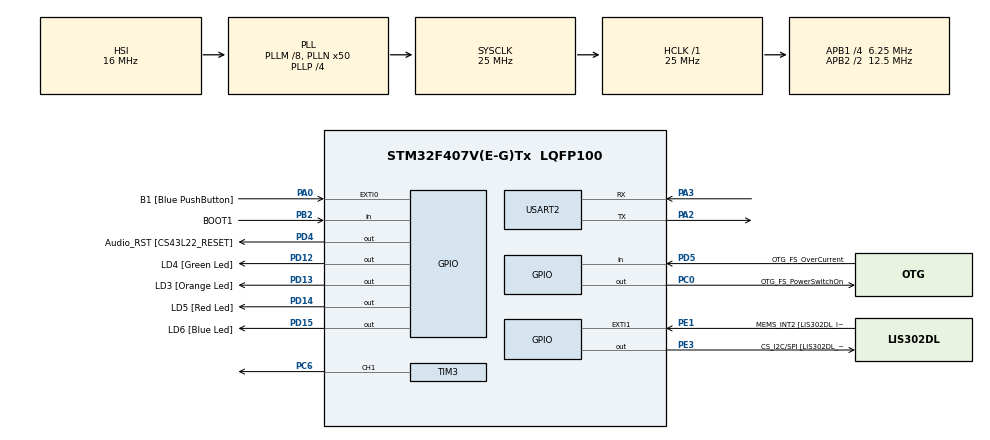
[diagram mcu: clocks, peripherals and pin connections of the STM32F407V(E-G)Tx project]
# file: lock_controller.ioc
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Dma.Request0=USART2_RX
Dma.Request1=USART2_TX
Dma.USART2_RX.0.Direction=DMA_PERIPH_TO_MEMORY
Dma.USART2_RX.0.FIFOMode=DMA_FIFOMODE_DISABLE
Dma.USART2_RX.0.Instance=DMA1_Stream5
Dma.USART2_RX.0.MemDataAlignment=DMA_MDATAALIGN_BYTE
Dma.USART2_RX.0.MemInc=DMA_MINC_ENABLE
Dma.USART2_RX.0.Mode=DMA_NORMAL
Dma.USART2_RX.0.PeriphDataAlignment=DMA_PDATAALIGN_BYTE
Dma.USART2_RX.0.PeriphInc=DMA_PINC_DISABLE
Dma.USART2_RX.0.Priority=DMA_PRIORITY_LOW
Dma.USART2_TX.1.Direction=DMA_MEMORY_TO_PERIPH
Dma.USART2_TX.1.FIFOMode=DMA_FIFOMODE_DISABLE
Dma.USART2_TX.1.Instance=DMA1_Stream6
Dma.USART2_TX.1.MemDataAlignment=DMA_MDATAALIGN_BYTE
Dma.USART2_TX.1.MemInc=DMA_MINC_ENABLE
Dma.USART2_TX.1.Mode=DMA_NORMAL
Dma.USART2_TX.1.PeriphDataAlignment=DMA_PDATAALIGN_BYTE
Dma.USART2_TX.1.PeriphInc=DMA_PINC_DISABLE
Dma.USART2_TX.1.Priority=DMA_PRIORITY_LOW
FREERTOS.Tasks01=initTask,32,128,StartInitTask,Default,NULL,Dynamic,NULL,NULL;uartRxThread,24,128,uart_rx_thread,Default,NULL,Dynamic,NULL,NULL;servoCheckThrea,24,128,servo_check_thread,Default,NULL,Dynamic,NULL,NULL
Mcu.Family=STM32F4
Mcu.Name=STM32F407V(E-G)Tx
Mcu.Package=LQFP100
NVIC.DMA1_Stream5_IRQn=true\:5\:0\:false\:false\:true\:true\:false\:true
NVIC.DMA1_Stream6_IRQn=true\:5\:0\:false\:false\:true\:true\:false\:true
NVIC.PriorityGroup=NVIC_PRIORITYGROUP_4
NVIC.TIM6_DAC_IRQn=true\:0\:0\:false\:false\:true\:false\:false\:true
NVIC.TimeBase=TIM6_DAC_IRQn
NVIC.TimeBaseIP=TIM6
NVIC.USART2_IRQn=true\:5\:0\:false\:false\:true\:true\:true\:true
PA0-WKUP.GPIO_Label=B1 [Blue PushButton]
PA0-WKUP.Signal=GPXTI0
PA10.GPIO_Label=OTG_FS_ID
PA10.GPIO_Mode=GPIO_MODE_AF_PP
PA10.GPIO_PuPd=GPIO_NOPULL
PA10.GPIO_Speed=GPIO_SPEED_FREQ_LOW
PA10.Signal=USB_OTG_FS_ID
PA11.GPIO_Label=OTG_FS_DM
PA11.GPIO_Mode=GPIO_MODE_AF_PP
PA11.GPIO_PuPd=GPIO_NOPULL
PA11.GPIO_Speed=GPIO_SPEED_FREQ_LOW
PA11.Signal=USB_OTG_FS_DM
PA12.GPIO_Label=OTG_FS_DP
PA12.GPIO_Mode=GPIO_MODE_AF_PP
PA12.GPIO_PuPd=GPIO_NOPULL
PA12.GPIO_Speed=GPIO_SPEED_FREQ_LOW
PA12.Signal=USB_OTG_FS_DP
PA13.GPIO_Label=SWDIO
PA13.Signal=SYS_JTMS-SWDIO
PA14.GPIO_Label=SWCLK
PA14.Signal=SYS_JTCK-SWCLK
PA2.Mode=Asynchronous
PA2.Signal=USART2_TX
PA3.Mode=Asynchronous
PA3.Signal=USART2_RX
PA4.GPIO_Label=I2S3_WS [CS43L22_LRCK]
PA4.GPIO_Mode=GPIO_MODE_AF_PP
PA4.GPIO_PuPd=GPIO_NOPULL
PA4.GPIO_Speed=GPIO_SPEED_FREQ_LOW
PA4.Signal=I2S3_WS
PA5.GPIO_Label=SPI1_SCK [LIS302DL_SCL/SPC]
PA5.GPIO_Mode=GPIO_MODE_AF_PP
PA5.GPIO_PuPd=GPIO_NOPULL
PA5.GPIO_Speed=GPIO_SPEED_FREQ_LOW
PA5.Signal=SPI1_SCK
PA6.GPIO_Label=SPI1_MISO [LIS302DL_SDO]
PA6.GPIO_Mode=GPIO_MODE_AF_PP
PA6.GPIO_PuPd=GPIO_NOPULL
PA6.GPIO_Speed=GPIO_SPEED_FREQ_LOW
PA6.Signal=SPI1_MISO
PA7.GPIO_Label=SPI1_MOSI [LIS302DL_SDA/SDI/SDO]
PA7.GPIO_Mode=GPIO_MODE_AF_PP
PA7.GPIO_PuPd=GPIO_NOPULL
PA7.GPIO_Speed=GPIO_SPEED_FREQ_LOW
PA7.Signal=SPI1_MOSI
PA9.GPIO_Label=VBUS_FS
PA9.GPIO_Mode=GPIO_MODE_INPUT
PA9.GPIO_PuPd=GPIO_NOPULL
PA9.Signal=USB_OTG_FS_VBUS
PB10.GPIO_Label=CLK_IN [MP45DT02_CLK]
PB10.GPIO_Mode=GPIO_MODE_AF_PP
PB10.GPIO_PuPd=GPIO_NOPULL
PB10.GPIO_Speed=GPIO_SPEED_FREQ_LOW
PB10.Signal=I2S2_CK
PB2.GPIO_Label=BOOT1
PB2.GPIO_Mode=GPIO_MODE_INPUT
PB2.GPIO_PuPd=GPIO_NOPULL
PB2.Signal=GPIO_Input
PB3.GPIO_Label=SWO
PB3.Signal=SYS_JTDO-SWO
PB6.GPIO_Label=Audio_SCL [CS43L22_SCL]
PB6.GPIO_Mode=GPIO_MODE_AF_OD
PB6.GPIO_PuPd=GPIO_NOPULL
PB6.GPIO_Speed=GPIO_SPEED_FREQ_LOW
PB6.Signal=I2C1_SCL
PB9.GPIO_Label=Audio_SDA [CS43L22_SDA]
PB9.GPIO_Mode=GPIO_MODE_AF_OD
PB9.GPIO_PuPd=GPIO_NOPULL
PB9.GPIO_Speed=GPIO_SPEED_FREQ_LOW
PB9.Signal=I2C1_SDA
PC0.GPIO_Label=OTG_FS_PowerSwitchOn
PC0.GPIO_PuPd=GPIO_NOPULL
PC0.GPIO_Speed=GPIO_SPEED_FREQ_LOW
PC0.PinState=GPIO_PIN_SET
PC0.Signal=GPIO_Output
PC10.GPIO_Label=I2S3_SCK [CS43L22_SCLK]
PC10.GPIO_Mode=GPIO_MODE_AF_PP
PC10.GPIO_PuPd=GPIO_NOPULL
PC10.GPIO_Speed=GPIO_SPEED_FREQ_LOW
PC10.Signal=I2S3_CK
PC12.GPIO_Label=I2S3_SD [CS43L22_SDIN]
PC12.GPIO_Mode=GPIO_MODE_AF_PP
PC12.GPIO_PuPd=GPIO_NOPULL
PC12.GPIO_Speed=GPIO_SPEED_FREQ_LOW
PC12.Signal=I2S3_SD
PC14-OSC32_IN.GPIO_Label=PC14-OSC32_IN
PC14-OSC32_IN.Mode=LSE-External-Oscillator
PC14-OSC32_IN.Signal=RCC_OSC32_IN
PC15-OSC32_OUT.GPIO_Label=PC15-OSC32_OUT
PC15-OSC32_OUT.Mode=LSE-External-Oscillator
PC15-OSC32_OUT.Signal=RCC_OSC32_OUT
PC3.GPIO_Label=PDM_OUT [MP45DT02_DOUT]
PC3.GPIO_Mode=GPIO_MODE_AF_PP
PC3.GPIO_PuPd=GPIO_NOPULL
PC3.GPIO_Speed=GPIO_SPEED_FREQ_LOW
PC3.Signal=I2S2_SD
PC6.Signal=S_TIM3_CH1
PC7.GPIO_Label=I2S3_MCK [CS43L22_MCLK]
PC7.GPIO_Mode=GPIO_MODE_AF_PP
PC7.GPIO_PuPd=GPIO_NOPULL
PC7.GPIO_Speed=GPIO_SPEED_FREQ_LOW
PC7.Signal=I2S3_MCK
PD12.GPIO_Label=LD4 [Green Led]
PD12.GPIO_PuPd=GPIO_NOPULL
PD12.GPIO_Speed=GPIO_SPEED_FREQ_LOW
PD12.Signal=GPIO_Output
PD13.GPIO_Label=LD3 [Orange Led]
PD13.GPIO_PuPd=GPIO_NOPULL
PD13.GPIO_Speed=GPIO_SPEED_FREQ_LOW
PD13.Signal=GPIO_Output
PD14.GPIO_Label=LD5 [Red Led]
PD14.GPIO_PuPd=GPIO_NOPULL
PD14.GPIO_Speed=GPIO_SPEED_FREQ_LOW
PD14.Signal=GPIO_Output
PD15.GPIO_Label=LD6 [Blue Led]
PD15.GPIO_PuPd=GPIO_NOPULL
PD15.GPIO_Speed=GPIO_SPEED_FREQ_LOW
PD15.Signal=GPIO_Output
PD4.GPIO_Label=Audio_RST [CS43L22_RESET]
PD4.GPIO_PuPd=GPIO_NOPULL
PD4.GPIO_Speed=GPIO_SPEED_FREQ_LOW
PD4.Signal=GPIO_Output
PD5.GPIO_Label=OTG_FS_OverCurrent
PD5.GPIO_Mode=GPIO_MODE_INPUT
PD5.GPIO_PuPd=GPIO_NOPULL
PD5.Signal=GPIO_Input
PE1.GPIO_Label=MEMS_INT2 [LIS302DL_INT2]
PE1.GPIO_ModeDefaultEXTI=GPIO_MODE_EVT_RISING
PE1.GPIO_PuPd=GPIO_NOPULL
PE1.Signal=GPXTI1
PE3.GPIO_Label=CS_I2C/SPI [LIS302DL_CS_I2C/SPI]
PE3.GPIO_PuPd=GPIO_NOPULL
PE3.GPIO_Speed=GPIO_SPEED_FREQ_LOW
PE3.Signal=GPIO_Output
PH0-OSC_IN.GPIO_Label=PH0-OSC_IN
PH0-OSC_IN.Mode=HSE-External-Oscillator
PH0-OSC_IN.Signal=RCC_OSC_IN
PH1-OSC_OUT.GPIO_Label=PH1-OSC_OUT
PH1-OSC_OUT.Mode=HSE-External-Oscillator
PH1-OSC_OUT.Signal=RCC_OSC_OUT
ProjectManager.HeapSize=0x200
ProjectManager.StackSize=0x400
ProjectManager.TargetToolchain=SW4STM32
RCC.48MHZClocksFreq_Value=14285714.285714285
RCC.AHBFreq_Value=25000000
RCC.APB1CLKDivider=RCC_HCLK_DIV4
RCC.APB1Freq_Value=6250000
RCC.APB1TimFreq_Value=12500000
RCC.APB2CLKDivider=RCC_HCLK_DIV2
RCC.APB2Freq_Value=12500000
RCC.APB2TimFreq_Value=25000000
RCC.CortexFreq_Value=25000000
RCC.HCLKFreq_Value=25000000
RCC.HSE_VALUE=8000000
RCC.HSI_VALUE=16000000
RCC.PLLM=8
RCC.PLLN=50
RCC.PLLP=RCC_PLLP_DIV4
RCC.PLLQ=7
RCC.SYSCLKFreq_VALUE=25000000
RCC.SYSCLKSource=RCC_SYSCLKSOURCE_PLLCLK
RCC.VCOOutputFreq_Value=100000000
SH.S_TIM3_CH1.0=TIM3_CH1,PWM Generation1 CH1
TIM3.Channel-PWM\ Generation1\ CH1=TIM_CHANNEL_1
TIM3.Period=2000
TIM3.Prescaler=160
TIM3.Pulse-PWM\ Generation1\ CH1=50
USART2.VirtualMode=VM_ASYNC
VP_FREERTOS_VS_CMSIS_V2.Mode=CMSIS_V2
VP_SYS_VS_tim6.Mode=TIM6
VP_TIM3_VS_ClockSourceINT.Mode=Internal
board=STM32F407G-DISC1

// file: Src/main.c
/* USER CODE BEGIN Header */
/**
  ******************************************************************************
  * @file           : main.c
  * @brief          : Main program body
  ******************************************************************************
  * @attention
  *
  * <h2><center>&copy; Copyright (c) 2020 STMicroelectronics.
  * All rights reserved.</center></h2>
  *
  * This software component is licensed by ST under BSD 3-Clause license,
  * the "License"; You may not use this file except in compliance with the
  * License. You may obtain a copy of the License at:
  *                        opensource.org/licenses/BSD-3-Clause
  *
  ******************************************************************************
  */
/* USER CODE END Header */

#include "main.h"
#include "cmsis_os.h"

/* USER CODE BEGIN Includes */

#include <string.h>
#include <stdbool.h>
#include <stdio.h>

/* USER CODE END Includes */

TIM_HandleTypeDef htim3;

UART_HandleTypeDef huart2;
DMA_HandleTypeDef hdma_usart2_rx;
DMA_HandleTypeDef hdma_usart2_tx;

/* Definitions for initTask */
osThreadId_t initTaskHandle;
const osThreadAttr_t initTask_attributes = {
  .name = "initTask",
  .priority = (osPriority_t) osPriorityAboveNormal,
  .stack_size = 128 * 4
};
/* Definitions for uartRxThread */
osThreadId_t uartRxThreadHandle;
const osThreadAttr_t uartRxThread_attributes = {
  .name = "uartRxThread",
  .priority = (osPriority_t) osPriorityNormal,
  .stack_size = 128 * 4
};
/* Definitions for servoCheckThrea */
osThreadId_t servoCheckThreadHandle;
const osThreadAttr_t servoCheckThread_attributes = {
  .name = "servoCheckThrea",
  .priority = (osPriority_t) osPriorityNormal,
  .stack_size = 128 * 4
};

void SystemClock_Config(void);
static void MX_GPIO_Init(void);
static void MX_DMA_Init(void);
static void MX_USART2_UART_Init(void);
static void MX_TIM3_Init(void);
void StartInitTask(void *argument);
void uart_rx_thread(void *argument);
void servo_check_thread(void *argument);

/* USER CODE BEGIN PFP */

void filter_message(char *cmd);
void server_receive();
void server_transmit(char *cmd);

/* USER CODE END PFP */

/* USER CODE BEGIN 0 */

char tx_data[64];

char rx_data[256];

char filter[100];

char *token = "OK";
char *hello = "Hello";
char *lock = "Zakljucano";
char *unlock = "Otkljucano";

bool connected = 0;
bool position = 0;
bool online = 0;
bool recv = 1;

GPIO_PinState manualLockToggle;

/* USER CODE END 0 */

int main(void)
{

  /* MCU Configuration--------------------------------------------------------*/

  /* Reset of all peripherals, Initializes the Flash interface and the Systick. */
  HAL_Init();

  /* Configure the system clock */
  SystemClock_Config();

  /* Initialize all configured peripherals */
  MX_GPIO_Init();
  MX_DMA_Init();
  MX_USART2_UART_Init();
  MX_TIM3_Init();

  /* Init scheduler */
  osKernelInitialize();

  /* Create the thread(s) */
  /* creation of initTask */
  initTaskHandle = osThreadNew(StartInitTask, NULL, &initTask_attributes);

  /* creation of uartRxThread */
  uartRxThreadHandle = osThreadNew(uart_rx_thread, NULL, &uartRxThread_attributes);

  /* creation of servoCheckThrea */
  servoCheckThreadHandle = osThreadNew(servo_check_thread, NULL, &servoCheckThread_attributes);

  /* Start scheduler */
  osKernelStart();

  /* We should never get here as control is now taken by the scheduler */
  /* Infinite loop */
  while (1)
  {

  }
}

void SystemClock_Config(void)
{
  RCC_OscInitTypeDef RCC_OscInitStruct = {0};
  RCC_ClkInitTypeDef RCC_ClkInitStruct = {0};

  /** Configure the main internal regulator output voltage
  */
  __HAL_RCC_PWR_CLK_ENABLE();
  __HAL_PWR_VOLTAGESCALING_CONFIG(PWR_REGULATOR_VOLTAGE_SCALE1);
  /** Initializes the CPU, AHB and APB busses clocks
  */
  RCC_OscInitStruct.OscillatorType = RCC_OSCILLATORTYPE_HSI;
  RCC_OscInitStruct.HSIState = RCC_HSI_ON;
  RCC_OscInitStruct.HSICalibrationValue = RCC_HSICALIBRATION_DEFAULT;
  RCC_OscInitStruct.PLL.PLLState = RCC_PLL_ON;
  RCC_OscInitStruct.PLL.PLLSource = RCC_PLLSOURCE_HSI;
  RCC_OscInitStruct.PLL.PLLM = 8;
  RCC_OscInitStruct.PLL.PLLN = 50;
  RCC_OscInitStruct.PLL.PLLP = RCC_PLLP_DIV4;
  RCC_OscInitStruct.PLL.PLLQ = 7;
  if (HAL_RCC_OscConfig(&RCC_OscInitStruct) != HAL_OK)
  {
    Error_Handler();
  }
  /** Initializes the CPU, AHB and APB busses clocks
  */
  RCC_ClkInitStruct.ClockType = RCC_CLOCKTYPE_HCLK|RCC_CLOCKTYPE_SYSCLK
                              |RCC_CLOCKTYPE_PCLK1|RCC_CLOCKTYPE_PCLK2;
  RCC_ClkInitStruct.SYSCLKSource = RCC_SYSCLKSOURCE_PLLCLK;
  RCC_ClkInitStruct.AHBCLKDivider = RCC_SYSCLK_DIV1;
  RCC_ClkInitStruct.APB1CLKDivider = RCC_HCLK_DIV4;
  RCC_ClkInitStruct.APB2CLKDivider = RCC_HCLK_DIV2;

  if (HAL_RCC_ClockConfig(&RCC_ClkInitStruct, FLASH_LATENCY_0) != HAL_OK)
  {
    Error_Handler();
  }
}

static void MX_TIM3_Init(void)
{

  TIM_ClockConfigTypeDef sClockSourceConfig = {0};
  TIM_MasterConfigTypeDef sMasterConfig = {0};
  TIM_OC_InitTypeDef sConfigOC = {0};

  htim3.Instance = TIM3;
  htim3.Init.Prescaler = 160;
  htim3.Init.CounterMode = TIM_COUNTERMODE_UP;
  htim3.Init.Period = 2000;
  htim3.Init.ClockDivision = TIM_CLOCKDIVISION_DIV1;
  htim3.Init.AutoReloadPreload = TIM_AUTORELOAD_PRELOAD_DISABLE;
  if (HAL_TIM_Base_Init(&htim3) != HAL_OK)
  {
    Error_Handler();
  }
  sClockSourceConfig.ClockSource = TIM_CLOCKSOURCE_INTERNAL;
  if (HAL_TIM_ConfigClockSource(&htim3, &sClockSourceConfig) != HAL_OK)
  {
    Error_Handler();
  }
  if (HAL_TIM_PWM_Init(&htim3) != HAL_OK)
  {
    Error_Handler();
  }
  sMasterConfig.MasterOutputTrigger = TIM_TRGO_RESET;
  sMasterConfig.MasterSlaveMode = TIM_MASTERSLAVEMODE_DISABLE;
  if (HAL_TIMEx_MasterConfigSynchronization(&htim3, &sMasterConfig) != HAL_OK)
  {
    Error_Handler();
  }
  sConfigOC.OCMode = TIM_OCMODE_PWM1;
  sConfigOC.Pulse = 50;
  sConfigOC.OCPolarity = TIM_OCPOLARITY_HIGH;
  sConfigOC.OCFastMode = TIM_OCFAST_DISABLE;
  if (HAL_TIM_PWM_ConfigChannel(&htim3, &sConfigOC, TIM_CHANNEL_1) != HAL_OK)
  {
    Error_Handler();
  }
  HAL_TIM_MspPostInit(&htim3);

}

static void MX_USART2_UART_Init(void)
{

  huart2.Instance = USART2;
  huart2.Init.BaudRate = 115200;
  huart2.Init.WordLength = UART_WORDLENGTH_8B;
  huart2.Init.StopBits = UART_STOPBITS_1;
  huart2.Init.Parity = UART_PARITY_NONE;
  huart2.Init.Mode = UART_MODE_TX_RX;
  huart2.Init.HwFlowCtl = UART_HWCONTROL_NONE;
  huart2.Init.OverSampling = UART_OVERSAMPLING_16;
  if (HAL_UART_Init(&huart2) != HAL_OK)
  {
    Error_Handler();
  }

}

static void MX_DMA_Init(void)
{

  /* DMA controller clock enable */
  __HAL_RCC_DMA1_CLK_ENABLE();

  /* DMA interrupt init */
  /* DMA1_Stream5_IRQn interrupt configuration */
  HAL_NVIC_SetPriority(DMA1_Stream5_IRQn, 5, 0);
  HAL_NVIC_EnableIRQ(DMA1_Stream5_IRQn);
  /* DMA1_Stream6_IRQn interrupt configuration */
  HAL_NVIC_SetPriority(DMA1_Stream6_IRQn, 5, 0);
  HAL_NVIC_EnableIRQ(DMA1_Stream6_IRQn);

}

static void MX_GPIO_Init(void)
{
  GPIO_InitTypeDef GPIO_InitStruct = {0};

  /* GPIO Ports Clock Enable */
  __HAL_RCC_GPIOE_CLK_ENABLE();
  __HAL_RCC_GPIOC_CLK_ENABLE();
  __HAL_RCC_GPIOH_CLK_ENABLE();
  __HAL_RCC_GPIOA_CLK_ENABLE();
  __HAL_RCC_GPIOB_CLK_ENABLE();
  __HAL_RCC_GPIOD_CLK_ENABLE();

  /*Configure GPIO pin Output Level */
  HAL_GPIO_WritePin(CS_I2C_SPI_GPIO_Port, CS_I2C_SPI_Pin, GPIO_PIN_RESET);

  /*Configure GPIO pin Output Level */
  HAL_GPIO_WritePin(OTG_FS_PowerSwitchOn_GPIO_Port, OTG_FS_PowerSwitchOn_Pin, GPIO_PIN_SET);

  /*Configure GPIO pin Output Level */
  HAL_GPIO_WritePin(GPIOD, LD4_Pin|LD3_Pin|LD5_Pin|LD6_Pin
                          |Audio_RST_Pin, GPIO_PIN_RESET);

  /*Configure GPIO pin : CS_I2C_SPI_Pin */
  GPIO_InitStruct.Pin = CS_I2C_SPI_Pin;
  GPIO_InitStruct.Mode = GPIO_MODE_OUTPUT_PP;
  GPIO_InitStruct.Pull = GPIO_NOPULL;
  GPIO_InitStruct.Speed = GPIO_SPEED_FREQ_LOW;
  HAL_GPIO_Init(CS_I2C_SPI_GPIO_Port, &GPIO_InitStruct);

  /*Configure GPIO pin : OTG_FS_PowerSwitchOn_Pin */
  GPIO_InitStruct.Pin = OTG_FS_PowerSwitchOn_Pin;
  GPIO_InitStruct.Mode = GPIO_MODE_OUTPUT_PP;
  GPIO_InitStruct.Pull = GPIO_NOPULL;
  GPIO_InitStruct.Speed = GPIO_SPEED_FREQ_LOW;
  HAL_GPIO_Init(OTG_FS_PowerSwitchOn_GPIO_Port, &GPIO_InitStruct);

  /*Configure GPIO pin : PDM_OUT_Pin */
  GPIO_InitStruct.Pin = PDM_OUT_Pin;
  GPIO_InitStruct.Mode = GPIO_MODE_AF_PP;
  GPIO_InitStruct.Pull = GPIO_NOPULL;
  GPIO_InitStruct.Speed = GPIO_SPEED_FREQ_LOW;
  GPIO_InitStruct.Alternate = GPIO_AF5_SPI2;
  HAL_GPIO_Init(PDM_OUT_GPIO_Port, &GPIO_InitStruct);

  /*Configure GPIO pin : B1_Pin */
  GPIO_InitStruct.Pin = B1_Pin;
  GPIO_InitStruct.Mode = GPIO_MODE_IT_RISING;
  GPIO_InitStruct.Pull = GPIO_NOPULL;
  HAL_GPIO_Init(B1_GPIO_Port, &GPIO_InitStruct);

  /*Configure GPIO pin : I2S3_WS_Pin */
  GPIO_InitStruct.Pin = I2S3_WS_Pin;
  GPIO_InitStruct.Mode = GPIO_MODE_AF_PP;
  GPIO_InitStruct.Pull = GPIO_NOPULL;
  GPIO_InitStruct.Speed = GPIO_SPEED_FREQ_LOW;
  GPIO_InitStruct.Alternate = GPIO_AF6_SPI3;
  HAL_GPIO_Init(I2S3_WS_GPIO_Port, &GPIO_InitStruct);

  /*Configure GPIO pins : SPI1_SCK_Pin SPI1_MISO_Pin SPI1_MOSI_Pin */
  GPIO_InitStruct.Pin = SPI1_SCK_Pin|SPI1_MISO_Pin|SPI1_MOSI_Pin;
  GPIO_InitStruct.Mode = GPIO_MODE_AF_PP;
  GPIO_InitStruct.Pull = GPIO_NOPULL;
  GPIO_InitStruct.Speed = GPIO_SPEED_FREQ_LOW;
  GPIO_InitStruct.Alternate = GPIO_AF5_SPI1;
  HAL_GPIO_Init(GPIOA, &GPIO_InitStruct);

  /*Configure GPIO pin : BOOT1_Pin */
  GPIO_InitStruct.Pin = BOOT1_Pin;
  GPIO_InitStruct.Mode = GPIO_MODE_INPUT;
  GPIO_InitStruct.Pull = GPIO_NOPULL;
  HAL_GPIO_Init(BOOT1_GPIO_Port, &GPIO_InitStruct);

  /*Configure GPIO pin : CLK_IN_Pin */
  GPIO_InitStruct.Pin = CLK_IN_Pin;
  GPIO_InitStruct.Mode = GPIO_MODE_AF_PP;
  GPIO_InitStruct.Pull = GPIO_NOPULL;
  GPIO_InitStruct.Speed = GPIO_SPEED_FREQ_LOW;
  GPIO_InitStruct.Alternate = GPIO_AF5_SPI2;
  HAL_GPIO_Init(CLK_IN_GPIO_Port, &GPIO_InitStruct);

  /*Configure GPIO pins : LD4_Pin LD3_Pin LD5_Pin LD6_Pin
                           Audio_RST_Pin */
  GPIO_InitStruct.Pin = LD4_Pin|LD3_Pin|LD5_Pin|LD6_Pin
                          |Audio_RST_Pin;
  GPIO_InitStruct.Mode = GPIO_MODE_OUTPUT_PP;
  GPIO_InitStruct.Pull = GPIO_NOPULL;
  GPIO_InitStruct.Speed = GPIO_SPEED_FREQ_LOW;
  HAL_GPIO_Init(GPIOD, &GPIO_InitStruct);

  /*Configure GPIO pins : I2S3_MCK_Pin I2S3_SCK_Pin I2S3_SD_Pin */
  GPIO_InitStruct.Pin = I2S3_MCK_Pin|I2S3_SCK_Pin|I2S3_SD_Pin;
  GPIO_InitStruct.Mode = GPIO_MODE_AF_PP;
  GPIO_InitStruct.Pull = GPIO_NOPULL;
  GPIO_InitStruct.Speed = GPIO_SPEED_FREQ_LOW;
  GPIO_InitStruct.Alternate = GPIO_AF6_SPI3;
  HAL_GPIO_Init(GPIOC, &GPIO_InitStruct);

  /*Configure GPIO pin : VBUS_FS_Pin */
  GPIO_InitStruct.Pin = VBUS_FS_Pin;
  GPIO_InitStruct.Mode = GPIO_MODE_INPUT;
  GPIO_InitStruct.Pull = GPIO_NOPULL;
  HAL_GPIO_Init(VBUS_FS_GPIO_Port, &GPIO_InitStruct);

  /*Configure GPIO pins : OTG_FS_ID_Pin OTG_FS_DM_Pin OTG_FS_DP_Pin */
  GPIO_InitStruct.Pin = OTG_FS_ID_Pin|OTG_FS_DM_Pin|OTG_FS_DP_Pin;
  GPIO_InitStruct.Mode = GPIO_MODE_AF_PP;
  GPIO_InitStruct.Pull = GPIO_NOPULL;
  GPIO_InitStruct.Speed = GPIO_SPEED_FREQ_LOW;
  GPIO_InitStruct.Alternate = GPIO_AF10_OTG_FS;
  HAL_GPIO_Init(GPIOA, &GPIO_InitStruct);

  /*Configure GPIO pin : OTG_FS_OverCurrent_Pin */
  GPIO_InitStruct.Pin = OTG_FS_OverCurrent_Pin;
  GPIO_InitStruct.Mode = GPIO_MODE_INPUT;
  GPIO_InitStruct.Pull = GPIO_NOPULL;
  HAL_GPIO_Init(OTG_FS_OverCurrent_GPIO_Port, &GPIO_InitStruct);

  /*Configure GPIO pins : Audio_SCL_Pin Audio_SDA_Pin */
  GPIO_InitStruct.Pin = Audio_SCL_Pin|Audio_SDA_Pin;
  GPIO_InitStruct.Mode = GPIO_MODE_AF_OD;
  GPIO_InitStruct.Pull = GPIO_PULLUP;
  GPIO_InitStruct.Speed = GPIO_SPEED_FREQ_LOW;
  GPIO_InitStruct.Alternate = GPIO_AF4_I2C1;
  HAL_GPIO_Init(GPIOB, &GPIO_InitStruct);

  /*Configure GPIO pin : MEMS_INT2_Pin */
  GPIO_InitStruct.Pin = MEMS_INT2_Pin;
  GPIO_InitStruct.Mode = GPIO_MODE_EVT_RISING;
  GPIO_InitStruct.Pull = GPIO_NOPULL;
  HAL_GPIO_Init(MEMS_INT2_GPIO_Port, &GPIO_InitStruct);

}

/* USER CODE BEGIN 4 */

void server_transmit(char *cmd){

	memset(&tx_data,'\0',64);
	memset(&rx_data,'\0',256);

	strcpy(tx_data, cmd);

	HAL_UART_Transmit(&huart2,(uint8_t*)tx_data,64,HAL_MAX_DELAY);

	HAL_UART_Receive_DMA(&huart2,(uint8_t*)rx_data,256);

	HAL_Delay(1500);

	filter_message(rx_data);
}

void server_receive(){

	HAL_UART_Receive_DMA(&huart2,(uint8_t*)rx_data,256);

	HAL_Delay(1500);

	filter_message(rx_data);

	memset(&rx_data,'\0',256);
}

void HAL_UART_RxCpltCallback(UART_HandleTypeDef *huart){

	__NOP();

}

void filter_message(char *cmd){

	memset(&filter,'\0',100);

	int j = 0;

	for(int i = 0;i < 256;i++){

		if(cmd[i] != '\0'){

			filter[j] = cmd[i];
			j++;

		}
	}

}

int map(int st1, int fn1, int st2, int fn2, int value)
{
    return (1.0*(value-st1))/((fn1-st1)*1.0) * (fn2-st2)+st2;
}

void servo_write(int angle)
{
	htim3.Instance->CCR1 = map(0,180,50,250,angle);
}

/* USER CODE END 4 */

void StartInitTask(void *argument)
{
  /* USER CODE BEGIN 5 */

	// Initialize all configured peripherals

	MX_DMA_Init();
	MX_USART2_UART_Init();
	HAL_TIM_PWM_Start(&htim3, TIM_CHANNEL_1);

	// Initial ESP moudle setup

	server_transmit("AT+RST\r\n");												// Reset module
	HAL_GPIO_TogglePin(GPIOD,GPIO_PIN_13);

	server_transmit("AT+CWQAP\r\n");											// Disconnect from any AP
	HAL_GPIO_TogglePin(GPIOD,GPIO_PIN_13);

	server_transmit("AT+CWMODE=3\r\n");										// Set dual working mode ( Client and server)
	HAL_GPIO_TogglePin(GPIOD,GPIO_PIN_13);

	while(!connected){

		server_transmit("AT+CWJAP=\"Ivan\",\"ivanivan\"\r\n");			// Connect to local Wi-Fi hotspot
		server_transmit("AT+CIPSTATUS=?\r\n");

		if(strstr(filter, token) != NULL){
			connected = 1;
			HAL_GPIO_TogglePin(GPIOD,GPIO_PIN_12);
		}

	}

	server_transmit("AT+CIPMUX=1\r\n");										// Enable multiplexing
	HAL_GPIO_TogglePin(GPIOD,GPIO_PIN_13);

	server_transmit("AT+CIPSERVER=1,5000\r\n");								// Create server listening on port 5000
	HAL_GPIO_TogglePin(GPIOD,GPIO_PIN_13);

	server_transmit("AT+CIPSTART=2,\"UDP\",\"192.168.43.223\",3000\r\n");			// Set up UDP connection with server
	HAL_GPIO_TogglePin(GPIOD,GPIO_PIN_13);

	server_transmit("AT+CIPSEND=2,30\r\n");										// Send connection confirmation
	HAL_GPIO_TogglePin(GPIOD,GPIO_PIN_13);

	server_transmit("Your lock, reporting for duty!");

	//server_receive();
	if(strstr(filter, hello) != NULL && online == 0){
			server_transmit("AT+CIPSEND=2,23\r\n");
			server_transmit("Lock says: Listening...");
			HAL_GPIO_TogglePin(GPIOD,GPIO_PIN_13);
			online = 1;
	}

	/* creation of uartRxThread */
	uartRxThreadHandle = osThreadNew(uart_rx_thread, NULL, &uartRxThread_attributes);

	/* creation of servoCheckThread */
	servoCheckThreadHandle = osThreadNew(servo_check_thread, NULL, &servoCheckThread_attributes);

	osThreadExit();

  /* USER CODE END 5 */
}

void uart_rx_thread(void *argument)
{
  /* USER CODE BEGIN uart_rx_thread */
	  /* Infinite loop */
	  for(;;)
	  {
		server_receive();

		if(strstr(filter,lock) != NULL && position == 1){

			for(int i = 0;i<=180;i++)
				servo_write(i);

			HAL_UART_Transmit(&huart2,(uint8_t*)("AT+CIPSEND=2,6\r\n"),18,HAL_MAX_DELAY);
			osDelay(100);
			HAL_UART_Transmit(&huart2,(uint8_t*)("Locked"),6,HAL_MAX_DELAY);
			osDelay(100);
			position = 0;

		}else if(strstr(filter,unlock) != NULL && position == 0){

			recv = 0;
			for(int i=180;i>=0;i--)
				servo_write(i);

			HAL_UART_Transmit(&huart2,(uint8_t*)("AT+CIPSEND=2,8\r\n"),18,HAL_MAX_DELAY);
			osDelay(100);
			HAL_UART_Transmit(&huart2,(uint8_t*)("Unlocked"),8,HAL_MAX_DELAY);
			osDelay(100);

			position = 1;
		}

		osDelay(200);
	}

  /* USER CODE END uart_rx_thread */
}

void servo_check_thread(void *argument)
{
  /* USER CODE BEGIN servo_check_thread */
  //osDelay(2000);
	/* Infinite loop */
  for(;;)
  {
	  manualLockToggle = HAL_GPIO_ReadPin(GPIOA,GPIO_PIN_0);

	  if(manualLockToggle && position == 1){

	  	for(int i = 0;i<=180;i++)
			servo_write(i);

	  	HAL_UART_Transmit(&huart2,(uint8_t*)("AT+CIPSEND=2,6\r\n"),18,HAL_MAX_DELAY);
	  	osDelay(100);
	  	HAL_UART_Transmit(&huart2,(uint8_t*)("Locked"),6,HAL_MAX_DELAY);
	  	osDelay(100);

	  	position = 0;
	  }
	  else if(manualLockToggle && position == 0){

		  for(int i=180;i>=0;i--)
	  		servo_write(i);

	  	HAL_UART_Transmit(&huart2,(uint8_t*)("AT+CIPSEND=2,8\r\n"),18,HAL_MAX_DELAY);
	  	osDelay(100);
	  	HAL_UART_Transmit(&huart2,(uint8_t*)("Unlocked"),8,HAL_MAX_DELAY);
	  	osDelay(100);

	  	position = 1;
	  }

	  osDelay(300);
  }
  /* USER CODE END servo_check_thread */
}

 /**
  * @brief  Period elapsed callback in non blocking mode
  * @note   This function is called  when TIM6 interrupt took place, inside
  * HAL_TIM_IRQHandler(). It makes a direct call to HAL_IncTick() to increment
  * a global variable "uwTick" used as application time base.
  * @param  htim : TIM handle
  * @retval None
  */
void HAL_TIM_PeriodElapsedCallback(TIM_HandleTypeDef *htim)
{
  if (htim->Instance == TIM6) {
    HAL_IncTick();
  }
}

void Error_Handler(void)
{
}

/************************ (C) COPYRIGHT STMicroelectronics *****END OF FILE****/
